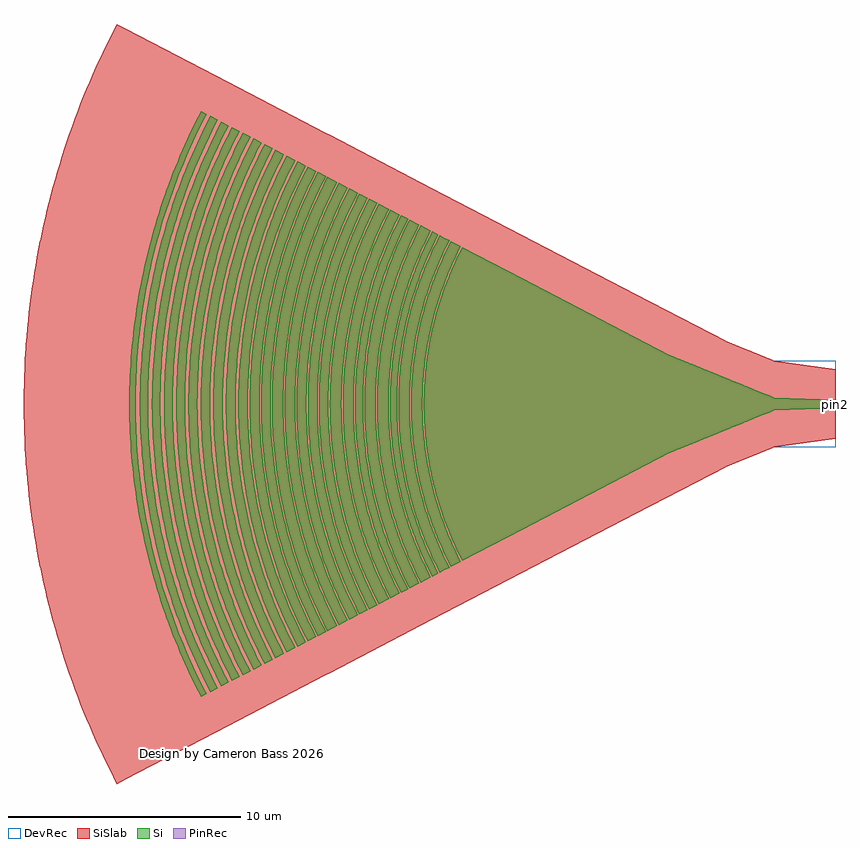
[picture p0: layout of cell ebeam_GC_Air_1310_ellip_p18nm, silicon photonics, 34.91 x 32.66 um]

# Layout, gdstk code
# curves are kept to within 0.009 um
import gdstk
lib = gdstk.Library(unit=1e-6, precision=1e-09)
def P(c, l, *ps):  # polygons
    for p in ps: c.add(gdstk.Polygon(p, *l))
Si = (1, 0)
PinRec = (1, 10)
SiSlab = (2, 0)
DevRec = (68, 0)

ebeam_gc_air_1310_ellip_ = lib.new_cell('ebeam_GC_Air_1310_ellip_p18nm')
P(ebeam_gc_air_1310_ellip_, Si, [(-16.056,-6.74),(-16.426,-5.976),(-16.801,-5.059),(-17.03,-4.389),(-17.295,-3.435),(-17.472,-2.604),(-17.599,-1.765),(-17.677,-0.919),(-17.705,-0.071),(-17.685,0.778),(-17.615,1.625),(-17.496,2.465),(-17.329,3.298),(-17.112,4.119),(-16.801,5.059),(-16.484,5.847),(-16.056,6.74),(-7.085,2.073),(-3.177,0.48),(-2.87,0.367),(-2.671,0.274),(0,0.175),(0,-0.175),(-2.671,-0.274),(-2.839,-0.354),(-3.24,-0.506),(-7.085,-2.073)],
  [(-16.548,-6.995),(-16.929,-6.206),(-17.267,-5.391),(-17.556,-4.558),(-17.796,-3.71),(-17.988,-2.849),(-18.128,-1.978),(-18.227,-0.955),(-18.257,-0.073),(-18.236,0.808),(-18.146,1.833),(-18.015,2.705),(-17.832,3.567),(-17.556,4.558),(-17.267,5.391),(-16.929,6.206),(-16.548,6.996),(-16.113,6.77),(-16.485,6.003),(-16.811,5.214),(-17.091,4.41),(-17.324,3.589),(-17.534,2.617),(-17.662,1.773),(-17.749,0.782),(-17.769,0.071),(-17.749,-0.782),(-17.662,-1.773),(-17.508,-2.756),(-17.324,-3.589),(-17.091,-4.41),(-16.811,-5.214),(-16.485,-6.003),(-16.113,-6.77)],
  [(-17.029,-7.246),(-17.423,-6.43),(-17.773,-5.586),(-18.072,-4.723),(-18.321,-3.844),(-18.519,-2.952),(-18.664,-2.05),(-18.757,-1.141),(-18.784,-0.685),(-18.798,-0.076),(-18.776,0.837),(-18.701,1.748),(-18.622,2.352),(-18.547,2.802),(-18.358,3.696),(-18.072,4.723),(-17.773,5.586),(-17.423,6.43),(-17.029,7.246),(-16.604,7.026),(-17.048,6.098),(-17.378,5.277),(-17.661,4.437),(-17.895,3.583),(-18.077,2.717),(-18.21,1.841),(-18.291,0.959),(-18.321,0.074),(-18.3,-0.811),(-18.21,-1.841),(-18.077,-2.717),(-17.895,-3.583),(-17.661,-4.437),(-17.378,-5.277),(-17.048,-6.098),(-16.604,-7.026)],
  [(-17.349,-7.413),(-17.688,-6.721),(-17.938,-6.15),(-18.11,-5.715),(-18.416,-4.832),(-18.671,-3.933),(-18.874,-3.02),(-18.955,-2.56),(-19.042,-1.943),(-19.128,-1.012),(-19.159,-0.078),(-19.137,0.857),(-19.042,1.943),(-18.902,2.867),(-18.709,3.782),(-18.462,4.683),(-18.165,5.569),(-17.816,6.436),(-17.555,7.003),(-17.349,7.413),(-17.086,7.276),(-17.544,6.317),(-17.938,5.323),(-18.179,4.597),(-18.306,4.156),(-18.456,3.563),(-18.552,3.114),(-18.685,2.361),(-18.781,1.603),(-18.84,0.841),(-18.862,0.077),(-18.847,-0.688),(-18.796,-1.45),(-18.685,-2.361),(-18.552,-3.114),(-18.456,-3.563),(-18.306,-4.155),(-18.179,-4.597),(-17.989,-5.178),(-17.777,-5.751),(-17.544,-6.317),(-17.086,-7.276)],
  [(-17.845,-7.671),(-18.057,-7.247),(-18.326,-6.661),(-18.688,-5.764),(-18.996,-4.847),(-19.25,-3.914),(-19.451,-2.967),(-19.595,-2.011),(-19.684,-1.047),(-19.717,-0.08),(-19.693,0.887),(-19.614,1.851),(-19.479,2.809),(-19.288,3.757),(-19.13,4.383),(-18.996,4.847),(-18.688,5.764),(-18.327,6.661),(-18.057,7.248),(-17.845,7.671),(-17.406,7.443),(-17.811,6.606),(-18.169,5.739),(-18.478,4.852),(-18.734,3.949),(-18.965,2.879),(-19.105,1.951),(-19.169,1.328),(-19.201,0.86),(-19.223,0.078),(-19.201,-0.86),(-19.169,-1.328),(-19.105,-1.951),(-18.965,-2.879),(-18.734,-3.949),(-18.478,-4.851),(-18.169,-5.739),(-17.811,-6.606),(-17.406,-7.443)],
  [(-18.325,-7.921),(-18.755,-7.03),(-19.016,-6.418),(-19.195,-5.952),(-19.514,-5.005),(-19.652,-4.526),(-19.816,-3.879),(-20.012,-2.9),(-20.133,-2.076),(-20.224,-1.082),(-20.258,-0.083),(-20.234,0.916),(-20.152,1.911),(-20.04,2.736),(-19.921,3.392),(-19.816,3.88),(-19.652,4.526),(-19.514,5.005),(-19.195,5.952),(-18.823,6.879),(-18.616,7.334),(-18.325,7.921),(-17.903,7.702),(-18.322,6.836),(-18.749,5.787),(-19.059,4.867),(-19.315,3.93),(-19.515,2.979),(-19.66,2.019),(-19.75,1.052),(-19.783,0.081),(-19.759,-0.89),(-19.679,-1.858),(-19.543,-2.82),(-19.315,-3.929),(-19.059,-4.866),(-18.749,-5.787),(-18.322,-6.836),(-17.903,-7.702)],
  [(-18.687,-8.109),(-18.985,-7.507),(-19.197,-7.041),(-19.519,-6.252),(-19.854,-5.286),(-20.046,-4.633),(-20.173,-4.137),(-20.385,-3.137),(-20.538,-2.125),(-20.632,-1.107),(-20.666,-0.085),(-20.642,0.937),(-20.558,1.957),(-20.415,2.969),(-20.213,3.972),(-19.953,4.961),(-19.802,5.45),(-19.578,6.093),(-19.197,7.042),(-18.985,7.508),(-18.687,8.109),(-18.382,7.952),(-18.603,7.512),(-18.882,6.905),(-19.137,6.287),(-19.369,5.66),(-19.527,5.184),(-19.715,4.542),(-19.84,4.057),(-19.984,3.404),(-20.129,2.581),(-20.234,1.752),(-20.299,0.919),(-20.323,0.084),(-20.299,-0.919),(-20.234,-1.752),(-20.129,-2.581),(-19.984,-3.404),(-19.878,-3.894),(-19.715,-4.542),(-19.527,-5.184),(-19.369,-5.66),(-19.197,-6.131),(-18.948,-6.751),(-18.675,-7.361),(-18.382,-7.951)],
  [(-19.145,-8.348),(-19.598,-7.41),(-19.874,-6.764),(-20.063,-6.273),(-20.398,-5.275),(-20.675,-4.259),(-20.893,-3.229),(-21.051,-2.188),(-21.147,-1.14),(-21.183,-0.088),(-21.173,0.615),(-21.147,1.14),(-21.051,2.188),(-20.893,3.229),(-20.676,4.259),(-20.398,5.275),(-20.063,6.273),(-19.67,7.25),(-19.376,7.888),(-19.145,8.348),(-18.745,8.14),(-19.188,7.225),(-19.455,6.594),(-19.639,6.116),(-19.967,5.143),(-20.238,4.153),(-20.449,3.149),(-20.603,2.134),(-20.697,1.112),(-20.732,0.086),(-20.707,-0.941),(-20.623,-1.964),(-20.479,-2.98),(-20.385,-3.484),(-20.238,-4.153),(-19.967,-5.143),(-19.639,-6.116),(-19.455,-6.594),(-19.188,-7.224),(-18.745,-8.14)],
  [(-19.644,-8.608),(-20.109,-7.643),(-20.525,-6.64),(-20.88,-5.614),(-21.176,-4.569),(-21.411,-3.509),(-21.584,-2.437),(-21.694,-1.356),(-21.725,-0.815),(-21.743,-0.09),(-21.717,0.995),(-21.627,2.078),(-21.476,3.153),(-21.34,3.864),(-21.22,4.394),(-20.934,5.441),(-20.71,6.13),(-20.525,6.64),(-20.183,7.478),(-19.958,7.973),(-19.644,8.608),(-19.203,8.379),(-19.658,7.437),(-20.062,6.46),(-20.242,5.964),(-20.461,5.295),(-20.697,4.446),(-20.924,3.415),(-21.093,2.372),(-21.171,1.671),(-21.212,1.144),(-21.248,0.088),(-21.243,-0.44),(-21.212,-1.144),(-21.115,-2.196),(-20.957,-3.241),(-20.739,-4.275),(-20.461,-5.294),(-20.242,-5.964),(-20.062,-6.46),(-19.658,-7.437),(-19.203,-8.379)],
  [(-20.059,-8.824),(-20.537,-7.833),(-20.963,-6.805),(-21.328,-5.753),(-21.631,-4.682),(-21.872,-3.596),(-22.049,-2.497),(-22.162,-1.39),(-22.194,-0.835),(-22.212,-0.093),(-22.185,1.02),(-22.094,2.129),(-22.024,2.682),(-21.906,3.414),(-21.676,4.503),(-21.487,5.221),(-21.328,5.753),(-20.963,6.805),(-20.613,7.664),(-20.382,8.171),(-20.059,8.824),(-19.705,8.64),(-20.173,7.671),(-20.589,6.664),(-20.947,5.634),(-21.244,4.586),(-21.479,3.522),(-21.573,2.985),(-21.675,2.266),(-21.775,1.18),(-21.812,0.091),(-21.786,-0.999),(-21.749,-1.542),(-21.675,-2.265),(-21.573,-2.985),(-21.479,-3.522),(-21.244,-4.586),(-20.947,-5.633),(-20.589,-6.664),(-20.173,-7.671),(-19.705,-8.64)],
  [(-20.479,-9.043),(-20.97,-8.026),(-21.197,-7.503),(-21.407,-6.972),(-21.78,-5.895),(-22.091,-4.798),(-22.223,-4.243),(-22.373,-3.498),(-22.543,-2.37),(-22.648,-1.235),(-22.687,-0.095),(-22.659,1.045),(-22.565,2.182),(-22.406,3.311),(-22.302,3.872),(-22.137,4.614),(-21.944,5.349),(-21.78,5.895),(-21.407,6.972),(-21.048,7.852),(-20.73,8.543),(-20.479,9.043),(-20.117,8.855),(-20.598,7.86),(-21.024,6.828),(-21.39,5.774),(-21.6,5.059),(-21.74,4.518),(-21.97,3.426),(-22.137,2.322),(-22.239,1.209),(-22.277,0.093),(-22.25,-1.023),(-22.196,-1.766),(-22.137,-2.321),(-21.97,-3.426),(-21.74,-4.518),(-21.6,-5.059),(-21.39,-5.774),(-21.024,-6.828),(-20.598,-7.86),(-20.117,-8.855)],
  [(-20.914,-9.269),(-21.418,-8.224),(-21.65,-7.688),(-21.865,-7.145),(-22.065,-6.596),(-22.248,-6.041),(-22.567,-4.917),(-22.702,-4.348),(-22.856,-3.584),(-23.031,-2.429),(-23.138,-1.265),(-23.177,-0.097),(-23.172,0.487),(-23.138,1.265),(-23.031,2.429),(-22.856,3.585),(-22.614,4.728),(-22.306,5.855),(-21.934,6.963),(-21.724,7.508),(-21.497,8.047),(-21.255,8.579),(-20.914,9.269),(-20.541,9.075),(-20.876,8.399),(-21.112,7.879),(-21.539,6.817),(-21.904,5.733),(-22.206,4.629),(-22.442,3.51),(-22.613,2.379),(-22.718,1.239),(-22.757,0.096),(-22.746,-0.667),(-22.718,-1.239),(-22.613,-2.378),(-22.442,-3.51),(-22.206,-4.629),(-21.904,-5.733),(-21.539,-6.817),(-21.261,-7.527),(-21.035,-8.053),(-20.541,-9.075)],
  [(-21.365,-9.504),(-21.715,-8.798),(-21.962,-8.251),(-22.195,-7.699),(-22.41,-7.14),(-22.792,-6.004),(-23.107,-4.848),(-23.356,-3.676),(-23.535,-2.491),(-23.645,-1.297),(-23.674,-0.699),(-23.685,-0.1),(-23.68,0.499),(-23.645,1.298),(-23.535,2.491),(-23.356,3.676),(-23.108,4.848),(-22.958,5.429),(-22.733,6.195),(-22.545,6.764),(-22.34,7.327),(-22.119,7.884),(-21.881,8.434),(-21.629,8.978),(-21.365,9.504),(-20.971,9.299),(-21.478,8.252),(-21.926,7.168),(-22.311,6.061),(-22.479,5.499),(-22.677,4.743),(-22.919,3.596),(-23.095,2.437),(-23.202,1.27),(-23.242,0.098),(-23.214,-1.074),(-23.157,-1.854),(-23.095,-2.437),(-22.919,-3.596),(-22.676,-4.743),(-22.479,-5.499),(-22.311,-6.06),(-21.926,-7.167),(-21.478,-8.252),(-20.971,-9.299)],
  [(-21.853,-9.757),(-22.122,-9.22),(-22.464,-8.474),(-22.703,-7.907),(-22.924,-7.332),(-23.129,-6.753),(-23.316,-6.166),(-23.641,-4.979),(-23.777,-4.379),(-23.895,-3.775),(-23.996,-3.168),(-24.079,-2.558),(-24.192,-1.332),(-24.222,-0.718),(-24.233,-0.102),(-24.204,1.128),(-24.103,2.355),(-23.996,3.168),(-23.895,3.775),(-23.777,4.379),(-23.641,4.979),(-23.487,5.576),(-23.316,6.166),(-23.129,6.753),(-22.924,7.333),(-22.703,7.907),(-22.465,8.474),(-22.122,9.22),(-21.853,9.758),(-21.422,9.534),(-21.941,8.461),(-22.4,7.351),(-22.795,6.215),(-23.123,5.059),(-23.382,3.885),(-23.574,2.697),(-23.696,1.502),(-23.731,0.901),(-23.75,0.1),(-23.721,-1.102),(-23.663,-1.901),(-23.599,-2.499),(-23.419,-3.688),(-23.261,-4.473),(-23.123,-5.059),(-22.795,-6.215),(-22.4,-7.351),(-21.941,-8.461),(-21.422,-9.534)],
  [(-22.267,-9.973),(-22.542,-9.423),(-22.807,-8.852),(-23.057,-8.275),(-23.289,-7.69),(-23.571,-6.901),(-23.763,-6.302),(-24.094,-5.089),(-24.233,-4.476),(-24.354,-3.858),(-24.457,-3.238),(-24.542,-2.614),(-24.609,-1.989),(-24.658,-1.362),(-24.688,-0.734),(-24.7,-0.105),(-24.67,1.153),(-24.567,2.406),(-24.488,3.031),(-24.391,3.652),(-24.276,4.271),(-24.094,5.089),(-23.763,6.302),(-23.571,6.902),(-23.289,7.69),(-22.893,8.661),(-22.542,9.423),(-22.267,9.973),(-21.91,9.788),(-22.269,9.062),(-22.524,8.501),(-22.838,7.74),(-23.055,7.162),(-23.255,6.578),(-23.494,5.791),(-23.654,5.195),(-23.839,4.392),(-23.958,3.787),(-24.059,3.177),(-24.188,2.157),(-24.268,1.131),(-24.298,0.103),(-24.278,-0.925),(-24.208,-1.952),(-24.089,-2.974),(-23.88,-4.191),(-23.75,-4.794),(-23.549,-5.592),(-23.317,-6.382),(-23.055,-7.162),(-22.762,-7.931),(-22.441,-8.689),(-21.91,-9.788)],
  [(-22.701,-10.199),(-22.984,-9.635),(-23.255,-9.051),(-23.511,-8.461),(-23.748,-7.863),(-23.967,-7.259),(-24.169,-6.648),(-24.411,-5.826),(-24.571,-5.203),(-24.714,-4.576),(-24.837,-3.945),(-24.943,-3.311),(-25.03,-2.673),(-25.098,-2.034),(-25.148,-1.392),(-25.179,-0.751),(-25.191,-0.107),(-25.185,0.536),(-25.16,1.179),(-25.117,1.82),(-25.055,2.46),(-24.974,3.098),(-24.875,3.734),(-24.714,4.576),(-24.571,5.203),(-24.411,5.826),(-24.232,6.444),(-24.036,7.057),(-23.823,7.663),(-23.592,8.263),(-23.342,8.856),(-22.984,9.635),(-22.701,10.199),(-22.327,10.005),(-22.695,9.262),(-22.956,8.688),(-23.277,7.91),(-23.498,7.32),(-23.767,6.522),(-23.947,5.918),(-24.111,5.308),(-24.3,4.489),(-24.492,3.456),(-24.635,2.414),(-24.726,1.366),(-24.757,0.736),(-24.769,0.105),(-24.749,-0.946),(-24.712,-1.576),(-24.657,-2.204),(-24.525,-3.247),(-24.342,-4.284),(-24.209,-4.9),(-24.004,-5.715),(-23.767,-6.522),(-23.498,-7.32),(-23.277,-7.91),(-22.956,-8.688),(-22.695,-9.262),(-22.327,-10.005)],
  [(-23.133,-10.424),(-23.425,-9.842),(-23.702,-9.246),(-23.963,-8.643),(-24.206,-8.032),(-24.43,-7.415),(-24.637,-6.791),(-24.825,-6.162),(-24.995,-5.527),(-25.147,-4.889),(-25.28,-4.245),(-25.394,-3.598),(-25.489,-2.948),(-25.565,-2.296),(-25.637,-1.422),(-25.669,-0.767),(-25.681,-0.109),(-25.675,0.547),(-25.65,1.204),(-25.605,1.859),(-25.542,2.513),(-25.459,3.165),(-25.32,4.03),(-25.193,4.675),(-25.048,5.315),(-24.883,5.952),(-24.701,6.582),(-24.501,7.209),(-24.283,7.828),(-24.046,8.441),(-23.791,9.046),(-23.52,9.645),(-23.133,10.424),(-22.775,10.239),(-23.153,9.474),(-23.506,8.69),(-23.749,8.092),(-23.975,7.488),(-24.25,6.672),(-24.435,6.054),(-24.654,5.222),(-24.796,4.592),(-24.993,3.535),(-25.086,2.897),(-25.161,2.255),(-25.244,1.183),(-25.276,0.108),(-25.255,-0.968),(-25.182,-2.041),(-25.113,-2.683),(-25.026,-3.322),(-24.839,-4.381),(-24.654,-5.222),(-24.493,-5.846),(-24.314,-6.467),(-24.047,-7.285),(-23.749,-8.092),(-23.505,-8.689),(-23.153,-9.474),(-22.775,-10.238)],
  [(-23.602,-10.669),(-23.904,-10.067),(-24.188,-9.458),(-24.455,-8.841),(-24.703,-8.217),(-24.933,-7.585),(-25.144,-6.947),(-25.337,-6.303),(-25.511,-5.654),(-25.667,-5),(-25.802,-4.342),(-25.954,-3.459),(-26.045,-2.793),(-26.116,-2.125),(-26.168,-1.455),(-26.201,-0.784),(-26.214,-0.112),(-26.207,0.56),(-26.181,1.232),(-26.136,1.902),(-26.071,2.571),(-25.986,3.237),(-25.882,3.902),(-25.714,4.782),(-25.565,5.437),(-25.397,6.088),(-25.21,6.733),(-25.005,7.374),(-24.782,8.007),(-24.54,8.634),(-24.279,9.253),(-24.001,9.866),(-23.602,10.669),(-23.233,10.477),(-23.528,9.889),(-23.896,9.09),(-24.151,8.481),(-24.464,7.659),(-24.678,7.034),(-24.935,6.192),(-25.159,5.341),(-25.304,4.697),(-25.506,3.615),(-25.655,2.525),(-25.736,1.649),(-25.763,1.21),(-25.795,0.11),(-25.774,-0.99),(-25.736,-1.649),(-25.678,-2.306),(-25.54,-3.398),(-25.348,-4.481),(-25.209,-5.127),(-24.994,-5.98),(-24.811,-6.614),(-24.538,-7.451),(-24.312,-8.071),(-23.983,-8.888),(-23.623,-9.69),(-23.233,-10.477)],
  [(-24.085,-10.92),(-24.593,-9.885),(-24.872,-9.256),(-25.215,-8.405),(-25.45,-7.76),(-25.734,-6.888),(-25.925,-6.228),(-26.096,-5.562),(-26.249,-4.892),(-26.382,-4.217),(-26.495,-3.539),(-26.588,-2.857),(-26.661,-2.174),(-26.714,-1.488),(-26.748,-0.802),(-26.761,-0.114),(-26.754,0.573),(-26.728,1.26),(-26.661,2.174),(-26.588,2.858),(-26.495,3.539),(-26.382,4.217),(-26.249,4.892),(-26.097,5.562),(-25.925,6.228),(-25.734,6.888),(-25.45,7.76),(-25.215,8.405),(-24.961,9.045),(-24.593,9.885),(-24.085,10.92),(-23.721,10.731),(-24.026,10.123),(-24.403,9.305),(-24.748,8.472),(-24.985,7.84),(-25.273,6.985),(-25.467,6.338),(-25.697,5.467),(-25.845,4.808),(-26.052,3.701),(-26.205,2.585),(-26.303,1.463),(-26.336,0.788),(-26.349,0.113),(-26.327,-1.013),(-26.287,-1.688),(-26.229,-2.361),(-26.087,-3.478),(-25.891,-4.587),(-25.697,-5.467),(-25.528,-6.121),(-25.273,-6.986),(-24.985,-7.84),(-24.664,-8.681),(-24.312,-9.511),(-24.026,-10.123),(-23.721,-10.731)],
  [(-24.555,-11.165),(-24.876,-10.527),(-25.173,-9.889),(-25.453,-9.244),(-25.712,-8.591),(-25.953,-7.931),(-26.174,-7.264),(-26.438,-6.366),(-26.614,-5.685),(-26.77,-5),(-26.906,-4.31),(-27.021,-3.617),(-27.116,-2.921),(-27.191,-2.222),(-27.246,-1.521),(-27.28,-0.82),(-27.293,-0.117),(-27.28,0.82),(-27.246,1.522),(-27.191,2.223),(-27.116,2.921),(-27.021,3.617),(-26.906,4.31),(-26.77,5),(-26.614,5.685),(-26.438,6.366),(-26.174,7.264),(-25.953,7.931),(-25.712,8.591),(-25.453,9.245),(-25.173,9.889),(-24.876,10.527),(-24.555,11.165),(-24.202,10.982),(-24.617,10.147),(-24.904,9.518),(-25.256,8.666),(-25.499,8.019),(-25.794,7.145),(-25.992,6.484),(-26.227,5.593),(-26.379,4.918),(-26.591,3.786),(-26.747,2.644),(-26.848,1.497),(-26.881,0.806),(-26.894,0.115),(-26.872,-1.036),(-26.794,-2.185),(-26.66,-3.33),(-26.553,-4.013),(-26.426,-4.692),(-26.226,-5.592),(-26.054,-6.261),(-25.862,-6.926),(-25.576,-7.802),(-25.256,-8.667),(-24.904,-9.518),(-24.617,-10.147),(-24.202,-10.982)],
  [(-25.028,-11.411),(-25.357,-10.757),(-25.661,-10.106),(-25.946,-9.447),(-26.212,-8.779),(-26.457,-8.105),(-26.683,-7.423),(-26.89,-6.735),(-27.076,-6.041),(-27.242,-5.343),(-27.388,-4.639),(-27.512,-3.933),(-27.617,-3.222),(-27.7,-2.509),(-27.763,-1.793),(-27.814,-0.838),(-27.828,-0.12),(-27.821,0.598),(-27.793,1.316),(-27.744,2.032),(-27.675,2.747),(-27.584,3.459),(-27.432,4.404),(-27.293,5.11),(-27.134,5.809),(-26.954,6.505),(-26.754,7.195),(-26.535,7.879),(-26.212,8.779),(-25.946,9.447),(-25.661,10.106),(-25.357,10.757),(-25.028,11.411),(-24.682,11.232),(-25.006,10.588),(-25.401,9.732),(-25.674,9.08),(-26.01,8.2),(-26.311,7.307),(-26.514,6.63),(-26.698,5.947),(-26.91,5.029),(-27.126,3.871),(-27.286,2.704),(-27.355,2),(-27.403,1.295),(-27.437,0.118),(-27.43,-0.589),(-27.403,-1.295),(-27.311,-2.469),(-27.163,-3.638),(-27.047,-4.336),(-26.91,-5.029),(-26.698,-5.947),(-26.514,-6.629),(-26.311,-7.307),(-26.01,-8.2),(-25.761,-8.862),(-25.401,-9.732),(-25.006,-10.588),(-24.682,-11.231)],
  [(-25.49,-11.651),(-25.826,-10.983),(-26.136,-10.318),(-26.427,-9.645),(-26.698,-8.963),(-26.949,-8.275),(-27.18,-7.579),(-27.391,-6.877),(-27.581,-6.168),(-27.803,-5.217),(-27.944,-4.497),(-28.065,-3.774),(-28.164,-3.047),(-28.242,-2.319),(-28.299,-1.587),(-28.334,-0.856),(-28.349,-0.122),(-28.334,0.856),(-28.299,1.587),(-28.242,2.319),(-28.164,3.047),(-28.065,3.774),(-27.944,4.497),(-27.803,5.217),(-27.64,5.931),(-27.456,6.642),(-27.253,7.345),(-27.029,8.044),(-26.698,8.964),(-26.427,9.645),(-26.136,10.318),(-25.826,10.983),(-25.49,11.651),(-25.156,11.478),(-25.592,10.602),(-25.891,9.945),(-26.26,9.055),(-26.514,8.379),(-26.822,7.466),(-27.029,6.775),(-27.275,5.844),(-27.434,5.139),(-27.655,3.956),(-27.76,3.241),(-27.844,2.524),(-27.937,1.324),(-27.972,0.121),(-27.949,-1.083),(-27.907,-1.804),(-27.844,-2.523),(-27.76,-3.241),(-27.655,-3.955),(-27.434,-5.138),(-27.275,-5.843),(-27.029,-6.774),(-26.822,-7.466),(-26.514,-8.379),(-26.26,-9.055),(-25.89,-9.945),(-25.592,-10.602),(-25.156,-11.478)],
  [(-25.955,-11.893),(-26.298,-11.211),(-26.615,-10.532),(-26.912,-9.846),(-27.189,-9.15),(-27.445,-8.447),(-27.681,-7.736),(-27.896,-7.02),(-28.09,-6.296),(-28.263,-5.569),(-28.461,-4.59),(-28.583,-3.852),(-28.685,-3.11),(-28.765,-2.367),(-28.823,-1.62),(-28.859,-0.873),(-28.873,-0.125),(-28.859,0.873),(-28.823,1.62),(-28.765,2.367),(-28.685,3.111),(-28.583,3.853),(-28.461,4.59),(-28.316,5.325),(-28.15,6.054),(-27.963,6.78),(-27.755,7.498),(-27.526,8.211),(-27.277,8.916),(-27.007,9.615),(-26.717,10.304),(-26.406,10.986),(-25.955,11.894),(-25.626,11.723),(-25.965,11.05),(-26.377,10.157),(-26.662,9.476),(-27.013,8.557),(-27.327,7.626),(-27.54,6.919),(-27.79,5.968),(-27.953,5.248),(-28.178,4.04),(-28.345,2.822),(-28.417,2.087),(-28.467,1.352),(-28.503,0.123),(-28.495,-0.615),(-28.467,-1.352),(-28.371,-2.577),(-28.285,-3.31),(-28.178,-4.039),(-27.953,-5.248),(-27.731,-6.205),(-27.54,-6.918),(-27.252,-7.859),(-27.013,-8.557),(-26.662,-9.476),(-26.376,-10.156),(-25.965,-11.049),(-25.626,-11.723)],
  [(-26.414,-12.132),(-26.764,-11.436),(-27.087,-10.744),(-27.39,-10.043),(-27.672,-9.333),(-27.934,-8.616),(-28.174,-7.892),(-28.393,-7.16),(-28.591,-6.423),(-28.768,-5.68),(-28.923,-4.932),(-29.056,-4.181),(-29.166,-3.425),(-29.255,-2.667),(-29.322,-1.906),(-29.376,-0.891),(-29.391,-0.127),(-29.383,0.636),(-29.354,1.399),(-29.302,2.16),(-29.228,2.921),(-29.132,3.678),(-28.97,4.682),(-28.822,5.432),(-28.653,6.176),(-28.462,6.916),(-28.25,7.649),(-28.016,8.376),(-27.762,9.095),(-27.487,9.808),(-27.191,10.511),(-26.874,11.207),(-26.414,12.132),(-26.095,11.967),(-26.441,11.28),(-26.76,10.598),(-27.058,9.906),(-27.425,8.972),(-27.676,8.261),(-27.979,7.304),(-28.244,6.335),(-28.417,5.603),(-28.57,4.865),(-28.701,4.124),(-28.871,2.881),(-28.981,1.631),(-29.017,0.878),(-29.032,0.126),(-29.024,-0.628),(-28.995,-1.38),(-28.898,-2.631),(-28.81,-3.379),(-28.701,-4.124),(-28.47,-5.357),(-28.244,-6.335),(-28.049,-7.062),(-27.832,-7.784),(-27.511,-8.735),(-27.246,-9.44),(-26.861,-10.368),(-26.55,-11.053),(-26.095,-11.967)],
  [(-26.884,-12.377),(-27.233,-11.681),(-27.563,-10.974),(-27.873,-10.259),(-28.252,-9.29),(-28.511,-8.556),(-28.749,-7.813),(-28.965,-7.064),(-29.16,-6.308),(-29.333,-5.548),(-29.483,-4.783),(-29.611,-4.014),(-29.717,-3.241),(-29.799,-2.466),(-29.86,-1.688),(-29.898,-0.91),(-29.913,-0.13),(-29.898,0.91),(-29.86,1.688),(-29.799,2.466),(-29.717,3.241),(-29.611,4.014),(-29.483,4.783),(-29.333,5.549),(-29.16,6.308),(-28.965,7.064),(-28.749,7.813),(-28.511,8.556),(-28.252,9.291),(-27.873,10.259),(-27.563,10.974),(-27.233,11.682),(-26.884,12.378),(-26.562,12.211),(-27.026,11.278),(-27.345,10.579),(-27.737,9.632),(-28.007,8.913),(-28.335,7.942),(-28.555,7.206),(-28.755,6.465),(-28.986,5.466),(-29.221,4.208),(-29.395,2.939),(-29.469,2.174),(-29.521,1.408),(-29.559,0.128),(-29.534,-1.152),(-29.489,-1.919),(-29.422,-2.684),(-29.261,-3.954),(-29.134,-4.713),(-28.986,-5.466),(-28.755,-6.464),(-28.555,-7.206),(-28.335,-7.942),(-28.007,-8.913),(-27.737,-9.632),(-27.345,-10.579),(-27.026,-11.278),(-26.562,-12.21)],
  [(-27.282,-12.585),(-27.645,-11.861),(-27.98,-11.143),(-28.294,-10.417),(-28.586,-9.68),(-28.843,-8.978),(-29.106,-8.185),(-29.333,-7.427),(-29.538,-6.662),(-29.721,-5.892),(-29.881,-5.116),(-30.019,-4.336),(-30.134,-3.553),(-30.251,-2.504),(-30.307,-1.795),(-30.351,-0.924),(-30.366,-0.132),(-30.358,0.659),(-30.328,1.451),(-30.251,2.504),(-30.167,3.291),(-30.06,4.076),(-29.93,4.857),(-29.777,5.634),(-29.602,6.406),(-29.404,7.173),(-29.184,7.933),(-28.943,8.688),(-28.679,9.434),(-28.394,10.173),(-28.088,10.902),(-27.759,11.624),(-27.282,12.585),(-27.041,12.46),(-27.506,11.522),(-27.831,10.808),(-28.231,9.841),(-28.507,9.106),(-28.841,8.114),(-29.067,7.362),(-29.27,6.605),(-29.45,5.841),(-29.609,5.071),(-29.745,4.299),(-29.922,3.003),(-30.037,1.7),(-30.075,0.915),(-30.09,0.131),(-30.065,-1.177),(-30.019,-1.961),(-29.95,-2.742),(-29.859,-3.522),(-29.745,-4.299),(-29.609,-5.071),(-29.45,-5.84),(-29.27,-6.605),(-29.067,-7.362),(-28.841,-8.115),(-28.507,-9.106),(-28.231,-9.841),(-27.83,-10.808),(-27.506,-11.522),(-27.041,-12.46)])
P(ebeam_gc_air_1310_ellip_, SiSlab, [(-30.904,-16.329),(-31.366,-15.41),(-31.801,-14.477),(-32.208,-13.533),(-32.588,-12.577),(-32.94,-11.61),(-33.264,-10.634),(-33.559,-9.648),(-33.825,-8.655),(-34.062,-7.654),(-34.27,-6.647),(-34.449,-5.634),(-34.598,-4.616),(-34.717,-3.594),(-34.807,-2.569),(-34.867,-1.543),(-34.9,-0.171),(-34.89,0.857),(-34.85,1.885),(-34.781,2.912),(-34.681,3.935),(-34.552,4.956),(-34.393,5.972),(-34.135,7.319),(-33.907,8.322),(-33.651,9.318),(-33.365,10.307),(-33.051,11.286),(-32.709,12.256),(-32.338,13.216),(-31.94,14.164),(-31.366,15.41),(-30.904,16.329),(-4.744,2.708),(-2.65,1.855),(0,1.5),(0,-1.5),(-2.65,-1.855),(-4.728,-2.7)])
P(ebeam_gc_air_1310_ellip_, DevRec, [(-30.904,-16.329),(-31.366,-15.41),(-31.801,-14.477),(-32.208,-13.533),(-32.588,-12.577),(-32.94,-11.61),(-33.264,-10.634),(-33.559,-9.648),(-33.825,-8.655),(-34.062,-7.654),(-34.27,-6.647),(-34.449,-5.634),(-34.598,-4.616),(-34.717,-3.594),(-34.807,-2.569),(-34.867,-1.543),(-34.9,-0.171),(-34.89,0.857),(-34.85,1.885),(-34.781,2.912),(-34.681,3.935),(-34.552,4.956),(-34.393,5.972),(-34.135,7.319),(-33.907,8.322),(-33.651,9.318),(-33.365,10.307),(-33.051,11.286),(-32.709,12.256),(-32.338,13.216),(-31.94,14.164),(-31.366,15.41),(-30.904,16.329),(-4.744,2.708),(-2.65,1.855),(0,1.855),(0,-1.855),(-2.65,-1.855),(-4.728,-2.7)])
ebeam_gc_air_1310_ellip_.add(gdstk.FlexPath([(-0.01,0),(0.01,0)], 0.35, ends="flush", simple_path=True, layer=1, datatype=10))  # PinRec
ebeam_gc_air_1310_ellip_.add(gdstk.Label('pin2', (0,0), layer=1, texttype=10))
ebeam_gc_air_1310_ellip_.add(gdstk.Label('Design by Cameron Bass 2026', (-25.94,-15.02), layer=10, texttype=0))

lib.write_gds('ebeam_GC_Air_1310_ellip_p18nm.gds')
